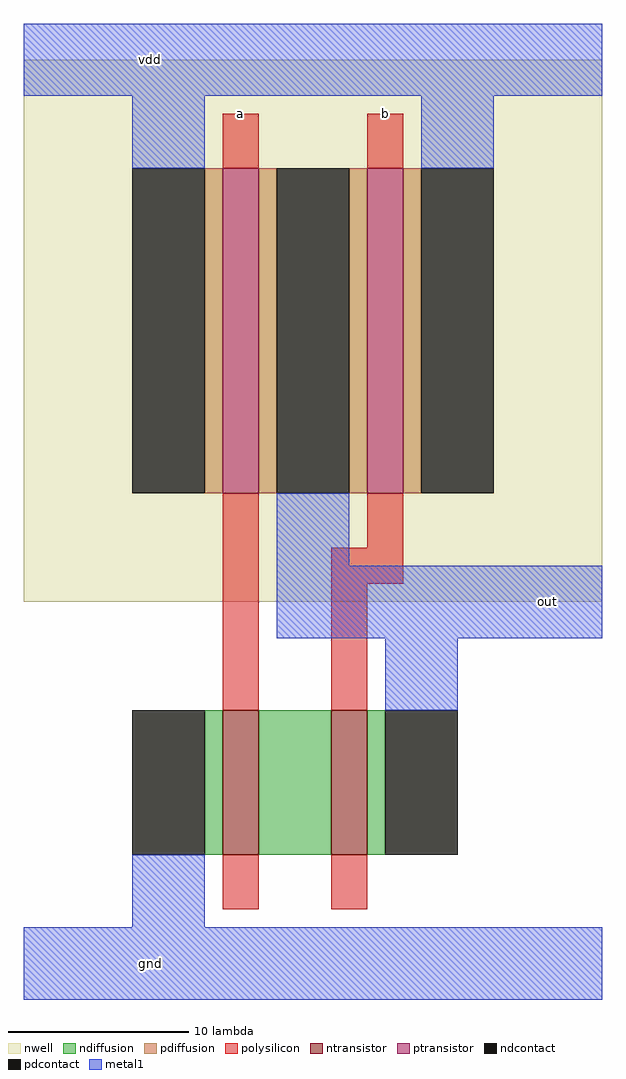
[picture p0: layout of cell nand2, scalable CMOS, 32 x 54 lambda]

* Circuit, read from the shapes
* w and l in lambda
.subckt nand2 a b gnd out vdd
M1 n1 a gnd VSUBS nfet w=8 l=2
M2 out b n1 VSUBS nfet w=8 l=2
M3 out a vdd n2 pfet w=18 l=2
M4 vdd b out n2 pfet w=18 l=2
.ends

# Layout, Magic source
magic
tech scmos
<< nwell >>
rect -15 7 17 37
<< polysilicon >>
rect -4 31 -2 34
rect 4 31 6 34
rect -4 1 -2 13
rect 4 10 6 13
rect 2 8 6 10
rect 2 1 4 8
rect -4 -10 -2 -7
rect 2 -10 4 -7
<< ndiffusion >>
rect -5 -7 -4 1
rect -2 -7 2 1
rect 4 -7 5 1
<< pdiffusion >>
rect -5 13 -4 31
rect -2 13 -1 31
rect 3 13 4 31
rect 6 13 7 31
<< metal1 >>
rect -15 35 17 39
rect -9 31 -5 35
rect 7 31 11 35
rect -1 9 3 13
rect -1 5 17 9
rect 5 1 9 5
rect -9 -11 -5 -7
rect -15 -15 17 -11
<< ntransistor >>
rect -4 -7 -2 1
rect 2 -7 4 1
<< ptransistor >>
rect -4 13 -2 31
rect 4 13 6 31
<< ndcontact >>
rect -9 -7 -5 1
rect 5 -7 9 1
<< pdcontact >>
rect -9 13 -5 31
rect -1 13 3 31
rect 7 13 11 31
<< labels >>
rlabel metal1 -8 -13 -8 -13 1 gnd
rlabel metal1 -8 37 -8 37 5 vdd
rlabel metal1 14 7 14 7 7 out
rlabel polysilicon -3 34 -3 34 5 a
rlabel polysilicon 5 34 5 34 5 b
<< end >>
